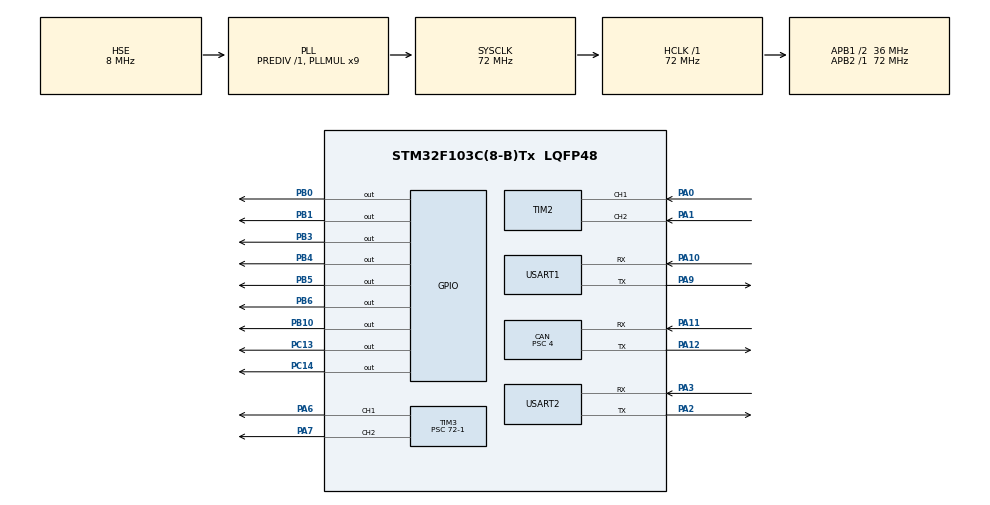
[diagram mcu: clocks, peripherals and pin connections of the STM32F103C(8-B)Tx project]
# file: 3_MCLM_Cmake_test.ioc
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CAN.ABOM=ENABLE
CAN.BS1=CAN_BS1_13TQ
CAN.BS2=CAN_BS2_4TQ
CAN.CalculateBaudRate=500000
CAN.CalculateTimeBit=2000
CAN.CalculateTimeQuantum=111.11111111111111
CAN.NART=ENABLE
CAN.Prescaler=4
CAN.SJW=CAN_SJW_1TQ
CAN.TXFP=ENABLE
Dma.Request0=USART1_RX
Dma.Request1=USART1_TX
Dma.Request2=USART2_RX
Dma.Request3=USART2_TX
Dma.USART1_RX.0.Direction=DMA_PERIPH_TO_MEMORY
Dma.USART1_RX.0.Instance=DMA1_Channel5
Dma.USART1_RX.0.MemDataAlignment=DMA_MDATAALIGN_BYTE
Dma.USART1_RX.0.MemInc=DMA_MINC_ENABLE
Dma.USART1_RX.0.Mode=DMA_NORMAL
Dma.USART1_RX.0.PeriphDataAlignment=DMA_PDATAALIGN_BYTE
Dma.USART1_RX.0.PeriphInc=DMA_PINC_DISABLE
Dma.USART1_RX.0.Priority=DMA_PRIORITY_HIGH
Dma.USART1_TX.1.Direction=DMA_MEMORY_TO_PERIPH
Dma.USART1_TX.1.Instance=DMA1_Channel4
Dma.USART1_TX.1.MemDataAlignment=DMA_MDATAALIGN_BYTE
Dma.USART1_TX.1.MemInc=DMA_MINC_ENABLE
Dma.USART1_TX.1.Mode=DMA_NORMAL
Dma.USART1_TX.1.PeriphDataAlignment=DMA_PDATAALIGN_BYTE
Dma.USART1_TX.1.PeriphInc=DMA_PINC_DISABLE
Dma.USART1_TX.1.Priority=DMA_PRIORITY_HIGH
Dma.USART2_RX.2.Direction=DMA_PERIPH_TO_MEMORY
Dma.USART2_RX.2.Instance=DMA1_Channel6
Dma.USART2_RX.2.MemDataAlignment=DMA_MDATAALIGN_BYTE
Dma.USART2_RX.2.MemInc=DMA_MINC_ENABLE
Dma.USART2_RX.2.Mode=DMA_NORMAL
Dma.USART2_RX.2.PeriphDataAlignment=DMA_PDATAALIGN_BYTE
Dma.USART2_RX.2.PeriphInc=DMA_PINC_DISABLE
Dma.USART2_RX.2.Priority=DMA_PRIORITY_MEDIUM
Dma.USART2_TX.3.Direction=DMA_MEMORY_TO_PERIPH
Dma.USART2_TX.3.Instance=DMA1_Channel7
Dma.USART2_TX.3.MemDataAlignment=DMA_MDATAALIGN_BYTE
Dma.USART2_TX.3.MemInc=DMA_MINC_ENABLE
Dma.USART2_TX.3.Mode=DMA_NORMAL
Dma.USART2_TX.3.PeriphDataAlignment=DMA_PDATAALIGN_BYTE
Dma.USART2_TX.3.PeriphInc=DMA_PINC_DISABLE
Dma.USART2_TX.3.Priority=DMA_PRIORITY_MEDIUM
FREERTOS.BinarySemaphores01=uart_rx_semaphore,Static,uart_rx_semaphoreControlBlock,Available;can_rx_semaphore,Static,can_rx_semaphoreControlBlock,Available
FREERTOS.Mutexes01=motor_mutex,Dynamic,NULL,Available
FREERTOS.Queues01=CommandQueue,64,CommandMsg_t,0,Dynamic,NULL,NULL;MotorQueue,72,CommandMsg_t,0,Dynamic,NULL,NULL;AckQueue,64,AckMsg_t,0,Dynamic,NULL,NULL
FREERTOS.Tasks01=MotorControl_Ta,40,128,Start_MotorControl,Default,NULL,Static,MotorControl_TBuffer,MotorControl_TControlBlock;Encoder_Ta,40,128,Start_Encoder,Default,NULL,Static,Encoder_TaskBuffer,Encoder_TaskControlBlock;Logger_Ta,8,384,Start_Logger,Default,NULL,Static,Logger_TaBuffer,Logger_TaControlBlock;Command_Ta,16,128,Start_Command,Default,NULL,Static,Command_TaBuffer,Command_TaControlBlock;Heartbeat_Ta,8,128,Start_Heartbeat,Default,NULL,Static,Heartbeat_TaBuffer,Heartbeat_TaControlBlock;Ack_Ta,8,256,Start_Ack,Default,NULL,Static,Ack_TaBuffer,Ack_TaControlBlock
Mcu.Family=STM32F1
Mcu.Name=STM32F103C(8-B)Tx
Mcu.Package=LQFP48
NVIC.DMA1_Channel4_IRQn=true\:5\:0\:false\:false\:true\:true\:false\:true\:true
NVIC.DMA1_Channel5_IRQn=true\:5\:0\:false\:false\:true\:true\:false\:true\:true
NVIC.DMA1_Channel6_IRQn=true\:5\:0\:false\:false\:true\:true\:false\:true\:true
NVIC.DMA1_Channel7_IRQn=true\:5\:0\:false\:false\:true\:true\:false\:true\:true
NVIC.PriorityGroup=NVIC_PRIORITYGROUP_4
NVIC.TIM4_IRQn=true\:15\:0\:false\:false\:true\:false\:false\:true\:true
NVIC.TimeBase=TIM4_IRQn
NVIC.TimeBaseIP=TIM4
NVIC.USART1_IRQn=true\:5\:0\:false\:false\:true\:true\:false\:true\:true
NVIC.USART2_IRQn=true\:5\:0\:false\:false\:true\:true\:false\:true\:true
NVIC.USB_LP_CAN1_RX0_IRQn=true\:5\:0\:false\:false\:true\:true\:true\:true\:true
PA0-WKUP.Signal=S_TIM2_CH1_ETR
PA1.Signal=S_TIM2_CH2
PA10.Mode=Asynchronous
PA10.Signal=USART1_RX
PA11.Mode=CAN_Activate
PA11.Signal=CAN_RX
PA12.Mode=CAN_Activate
PA12.Signal=CAN_TX
PA13.Mode=Serial_Wire
PA13.Signal=SYS_JTMS-SWDIO
PA14.Mode=Serial_Wire
PA14.Signal=SYS_JTCK-SWCLK
PA2.Mode=Asynchronous
PA2.Signal=USART2_TX
PA3.Mode=Asynchronous
PA3.Signal=USART2_RX
PA6.Signal=S_TIM3_CH1
PA7.Signal=S_TIM3_CH2
PA9.Mode=Asynchronous
PA9.Signal=USART1_TX
PB0.PinState=GPIO_PIN_SET
PB0.Signal=GPIO_Output
PB1.PinState=GPIO_PIN_SET
PB1.Signal=GPIO_Output
PB10.PinState=GPIO_PIN_SET
PB10.Signal=GPIO_Output
PB3.PinState=GPIO_PIN_SET
PB3.Signal=GPIO_Output
PB4.PinState=GPIO_PIN_SET
PB4.Signal=GPIO_Output
PB5.PinState=GPIO_PIN_SET
PB5.Signal=GPIO_Output
PB6.PinState=GPIO_PIN_SET
PB6.Signal=GPIO_Output
PC13-TAMPER-RTC.PinState=GPIO_PIN_SET
PC13-TAMPER-RTC.Signal=GPIO_Output
PC14-OSC32_IN.PinState=GPIO_PIN_SET
PC14-OSC32_IN.Signal=GPIO_Output
PD0-OSC_IN.Mode=HSE-External-Oscillator
PD0-OSC_IN.Signal=RCC_OSC_IN
PD1-OSC_OUT.Mode=HSE-External-Oscillator
PD1-OSC_OUT.Signal=RCC_OSC_OUT
ProjectManager.HeapSize=0x200
ProjectManager.StackSize=0x800
ProjectManager.TargetToolchain=CMake
RCC.AHBFreq_Value=72000000
RCC.APB1CLKDivider=RCC_HCLK_DIV2
RCC.APB1Freq_Value=36000000
RCC.APB1TimFreq_Value=72000000
RCC.APB2Freq_Value=72000000
RCC.APB2TimFreq_Value=72000000
RCC.EnbaleCSS=true
RCC.HCLKFreq_Value=72000000
RCC.PLLMUL=RCC_PLL_MUL9
RCC.PLLSourceVirtual=RCC_PLLSOURCE_HSE
RCC.SYSCLKFreq_VALUE=72000000
RCC.SYSCLKSource=RCC_SYSCLKSOURCE_PLLCLK
RCC.USBFreq_Value=72000000
SH.S_TIM2_CH1_ETR.0=TIM2_CH1,Encoder_Interface
SH.S_TIM2_CH2.0=TIM2_CH2,Encoder_Interface
SH.S_TIM3_CH1.0=TIM3_CH1,PWM Generation1 CH1
SH.S_TIM3_CH2.0=TIM3_CH2,PWM Generation2 CH2
TIM2.EncoderMode=TIM_ENCODERMODE_TI12
TIM2.IC1Filter=7
TIM2.IC2Filter=7
TIM3.Channel-PWM\ Generation1\ CH1=TIM_CHANNEL_1
TIM3.Channel-PWM\ Generation2\ CH2=TIM_CHANNEL_2
TIM3.Period=100-1
TIM3.Prescaler=72-1
USART1.VirtualMode=VM_ASYNC
USART2.VirtualMode=VM_ASYNC
VP_FREERTOS_VS_CMSIS_V2.Mode=CMSIS_V2
VP_SYS_VS_tim4.Mode=TIM4
board=custom

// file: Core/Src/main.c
/* USER CODE BEGIN Header */
/**
  ******************************************************************************
  * @file           : main.c
  * @brief          : Main program body
  ******************************************************************************
  * @attention
  *
  * Copyright (c) 2025 STMicroelectronics.
  * All rights reserved.
  *
  * This software is licensed under terms that can be found in the LICENSE file
  * in the root directory of this software component.
  * If no LICENSE file comes with this software, it is provided AS-IS.
  *
  ******************************************************************************
  */
/* USER CODE END Header */
#include "main.h"
#include "cmsis_os.h"
#include "can.h"
#include "dma.h"
#include "tim.h"
#include "usart.h"
#include "gpio.h"

/* USER CODE BEGIN Includes */

#include "app_includes.h"
// #include "can_service.h" // 新增：包含 can_service.h
// #include "app_task.h"

/* USER CODE END Includes */

void SystemClock_Config(void);
void MX_FREERTOS_Init(void);

int main(void)
{

  /* MCU Configuration--------------------------------------------------------*/

  /* Reset of all peripherals, Initializes the Flash interface and the Systick. */
  HAL_Init();

  /* Configure the system clock */
  SystemClock_Config();

  /* Initialize all configured peripherals */
  MX_GPIO_Init();
  MX_DMA_Init();
  MX_TIM2_Init();
  MX_TIM3_Init();
  MX_USART1_UART_Init();
  MX_USART2_UART_Init();
  MX_CAN_Init();
  /* USER CODE BEGIN 2 */

  Motor_PID_Init();
  // CanService_Init(); // 新增：调用 CanService_Init

  /* USER CODE END 2 */

  /* Init scheduler */
  osKernelInitialize();  /* Call init function for freertos objects (in cmsis_os2.c) */
  MX_FREERTOS_Init();

  /* Start scheduler */
  osKernelStart();

  /* We should never get here as control is now taken by the scheduler */

  /* Infinite loop */
  while (1)
  {

  }
}

void SystemClock_Config(void)
{
  RCC_OscInitTypeDef RCC_OscInitStruct = {0};
  RCC_ClkInitTypeDef RCC_ClkInitStruct = {0};

  /** Initializes the RCC Oscillators according to the specified parameters
  * in the RCC_OscInitTypeDef structure.
  */
  RCC_OscInitStruct.OscillatorType = RCC_OSCILLATORTYPE_HSE;
  RCC_OscInitStruct.HSEState = RCC_HSE_ON;
  RCC_OscInitStruct.HSEPredivValue = RCC_HSE_PREDIV_DIV1;
  RCC_OscInitStruct.HSIState = RCC_HSI_ON;
  RCC_OscInitStruct.PLL.PLLState = RCC_PLL_ON;
  RCC_OscInitStruct.PLL.PLLSource = RCC_PLLSOURCE_HSE;
  RCC_OscInitStruct.PLL.PLLMUL = RCC_PLL_MUL9;
  if (HAL_RCC_OscConfig(&RCC_OscInitStruct) != HAL_OK)
  {
    Error_Handler();
  }

  /** Initializes the CPU, AHB and APB buses clocks
  */
  RCC_ClkInitStruct.ClockType = RCC_CLOCKTYPE_HCLK|RCC_CLOCKTYPE_SYSCLK
                              |RCC_CLOCKTYPE_PCLK1|RCC_CLOCKTYPE_PCLK2;
  RCC_ClkInitStruct.SYSCLKSource = RCC_SYSCLKSOURCE_PLLCLK;
  RCC_ClkInitStruct.AHBCLKDivider = RCC_SYSCLK_DIV1;
  RCC_ClkInitStruct.APB1CLKDivider = RCC_HCLK_DIV2;
  RCC_ClkInitStruct.APB2CLKDivider = RCC_HCLK_DIV1;

  if (HAL_RCC_ClockConfig(&RCC_ClkInitStruct, FLASH_LATENCY_2) != HAL_OK)
  {
    Error_Handler();
  }

  /** Enables the Clock Security System
  */
  HAL_RCC_EnableCSS();
}

void HAL_TIM_PeriodElapsedCallback(TIM_HandleTypeDef *htim)
{
  if (htim->Instance == TIM4)
  {
    HAL_IncTick();
  }
}

void Error_Handler(void)
{
  __disable_irq();
  while (1)
  {
  }
}

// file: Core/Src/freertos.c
/* USER CODE BEGIN Header */
/**
  ******************************************************************************
  * File Name          : freertos.c
  * Description        : Code for freertos applications
  ******************************************************************************
  * @attention
  *
  * Copyright (c) 2025 STMicroelectronics.
  * All rights reserved.
  *
  * This software is licensed under terms that can be found in the LICENSE file
  * in the root directory of this software component.
  * If no LICENSE file comes with this software, it is provided AS-IS.
  *
  ******************************************************************************
  */
/* USER CODE END Header */

#include "FreeRTOS.h"
#include "task.h"
#include "main.h"
#include "cmsis_os.h"

/* USER CODE BEGIN Includes */

#include "app_task.h"
#include "command.h"
#include "app_config.h"

/* USER CODE END Includes */

typedef StaticTask_t osStaticThreadDef_t;
typedef StaticSemaphore_t osStaticSemaphoreDef_t;

/* Definitions for MotorControl_Ta */
osThreadId_t MotorControl_TaHandle;
uint32_t MotorControl_TBuffer[ 128 ];
osStaticThreadDef_t MotorControl_TControlBlock;
const osThreadAttr_t MotorControl_Ta_attributes = {
  .name = "MotorControl_Ta",
  .cb_mem = &MotorControl_TControlBlock,
  .cb_size = sizeof(MotorControl_TControlBlock),
  .stack_mem = &MotorControl_TBuffer[0],
  .stack_size = sizeof(MotorControl_TBuffer),
  .priority = (osPriority_t) osPriorityHigh,
};
/* Definitions for Encoder_Ta */
osThreadId_t Encoder_TaHandle;
uint32_t Encoder_TaskBuffer[ 128 ];
osStaticThreadDef_t Encoder_TaskControlBlock;
const osThreadAttr_t Encoder_Ta_attributes = {
  .name = "Encoder_Ta",
  .cb_mem = &Encoder_TaskControlBlock,
  .cb_size = sizeof(Encoder_TaskControlBlock),
  .stack_mem = &Encoder_TaskBuffer[0],
  .stack_size = sizeof(Encoder_TaskBuffer),
  .priority = (osPriority_t) osPriorityHigh,
};
/* Definitions for Logger_Ta */
osThreadId_t Logger_TaHandle;
uint32_t Logger_TaBuffer[ 384 ];
osStaticThreadDef_t Logger_TaControlBlock;
const osThreadAttr_t Logger_Ta_attributes = {
  .name = "Logger_Ta",
  .cb_mem = &Logger_TaControlBlock,
  .cb_size = sizeof(Logger_TaControlBlock),
  .stack_mem = &Logger_TaBuffer[0],
  .stack_size = sizeof(Logger_TaBuffer),
  .priority = (osPriority_t) osPriorityLow,
};
/* Definitions for Command_Ta */
osThreadId_t Command_TaHandle;
uint32_t Command_TaBuffer[ 128 ];
osStaticThreadDef_t Command_TaControlBlock;
const osThreadAttr_t Command_Ta_attributes = {
  .name = "Command_Ta",
  .cb_mem = &Command_TaControlBlock,
  .cb_size = sizeof(Command_TaControlBlock),
  .stack_mem = &Command_TaBuffer[0],
  .stack_size = sizeof(Command_TaBuffer),
  .priority = (osPriority_t) osPriorityBelowNormal,
};
/* Definitions for Heartbeat_Ta */
osThreadId_t Heartbeat_TaHandle;
uint32_t Heartbeat_TaBuffer[ 128 ];
osStaticThreadDef_t Heartbeat_TaControlBlock;
const osThreadAttr_t Heartbeat_Ta_attributes = {
  .name = "Heartbeat_Ta",
  .cb_mem = &Heartbeat_TaControlBlock,
  .cb_size = sizeof(Heartbeat_TaControlBlock),
  .stack_mem = &Heartbeat_TaBuffer[0],
  .stack_size = sizeof(Heartbeat_TaBuffer),
  .priority = (osPriority_t) osPriorityLow,
};
/* Definitions for Ack_Ta */
osThreadId_t Ack_TaHandle;
uint32_t Ack_TaBuffer[ 256 ];
osStaticThreadDef_t Ack_TaControlBlock;
const osThreadAttr_t Ack_Ta_attributes = {
  .name = "Ack_Ta",
  .cb_mem = &Ack_TaControlBlock,
  .cb_size = sizeof(Ack_TaControlBlock),
  .stack_mem = &Ack_TaBuffer[0],
  .stack_size = sizeof(Ack_TaBuffer),
  .priority = (osPriority_t) osPriorityLow,
};
/* Definitions for CommandQueue */
osMessageQueueId_t CommandQueueHandle;
const osMessageQueueAttr_t CommandQueue_attributes = {
  .name = "CommandQueue"
};
/* Definitions for MotorQueue */
osMessageQueueId_t MotorQueueHandle;
const osMessageQueueAttr_t MotorQueue_attributes = {
  .name = "MotorQueue"
};
/* Definitions for AckQueue */
osMessageQueueId_t AckQueueHandle;
const osMessageQueueAttr_t AckQueue_attributes = {
  .name = "AckQueue"
};
/* Definitions for motor_mutex */
osMutexId_t motor_mutexHandle;
const osMutexAttr_t motor_mutex_attributes = {
  .name = "motor_mutex"
};
/* Definitions for uart_rx_semaphore */
osSemaphoreId_t uart_rx_semaphoreHandle;
osStaticSemaphoreDef_t uart_rx_semaphoreControlBlock;
const osSemaphoreAttr_t uart_rx_semaphore_attributes = {
  .name = "uart_rx_semaphore",
  .cb_mem = &uart_rx_semaphoreControlBlock,
  .cb_size = sizeof(uart_rx_semaphoreControlBlock),
};
/* Definitions for can_rx_semaphore */
osSemaphoreId_t can_rx_semaphoreHandle;
osStaticSemaphoreDef_t can_rx_semaphoreControlBlock;
const osSemaphoreAttr_t can_rx_semaphore_attributes = {
  .name = "can_rx_semaphore",
  .cb_mem = &can_rx_semaphoreControlBlock,
  .cb_size = sizeof(can_rx_semaphoreControlBlock),
};

void Start_MotorControl(void *argument);
void Start_Encoder(void *argument);
void Start_Logger(void *argument);
void Start_Command(void *argument);
void Start_Heartbeat(void *argument);
void Start_Ack(void *argument);

void MX_FREERTOS_Init(void); /* (MISRA C 2004 rule 8.1) */

void MX_FREERTOS_Init(void) {
  /* Create the mutex(es) */
  /* creation of motor_mutex */
  motor_mutexHandle = osMutexNew(&motor_mutex_attributes);

  /* Create the semaphores(s) */
  /* creation of uart_rx_semaphore */
  uart_rx_semaphoreHandle = osSemaphoreNew(1, 1, &uart_rx_semaphore_attributes);

  /* creation of can_rx_semaphore */
  can_rx_semaphoreHandle = osSemaphoreNew(1, 1, &can_rx_semaphore_attributes);

  /* Create the queue(s) */
  /* creation of CommandQueue */
  CommandQueueHandle = osMessageQueueNew (64, sizeof(CommandMsg_t), &CommandQueue_attributes);

  /* creation of MotorQueue */
  MotorQueueHandle = osMessageQueueNew (72, sizeof(CommandMsg_t), &MotorQueue_attributes);

  /* creation of AckQueue */
  AckQueueHandle = osMessageQueueNew (64, sizeof(AckMsg_t), &AckQueue_attributes);

  /* Create the thread(s) */
  /* creation of MotorControl_Ta */
  MotorControl_TaHandle = osThreadNew(Start_MotorControl, NULL, &MotorControl_Ta_attributes);

  /* creation of Encoder_Ta */
  Encoder_TaHandle = osThreadNew(Start_Encoder, NULL, &Encoder_Ta_attributes);

  /* creation of Logger_Ta */
  Logger_TaHandle = osThreadNew(Start_Logger, NULL, &Logger_Ta_attributes);

  /* creation of Command_Ta */
  Command_TaHandle = osThreadNew(Start_Command, NULL, &Command_Ta_attributes);

  /* creation of Heartbeat_Ta */
  Heartbeat_TaHandle = osThreadNew(Start_Heartbeat, NULL, &Heartbeat_Ta_attributes);

  /* creation of Ack_Ta */
  Ack_TaHandle = osThreadNew(Start_Ack, NULL, &Ack_Ta_attributes);

}

void Start_MotorControl(void *argument)
{
  /* USER CODE BEGIN Start_MotorControl */
  /* Infinite loop */

  #if ACTIVE_MOTOR_DRIVER == MOTOR_DRIVER_TB6612
  TB6612_DC_Task(argument);
  #elif ACTIVE_MOTOR_DRIVER == MOTOR_DRIVER_AT8236
  AT8236_DC_Task(argument);

  #else

  #error "No valid motor driver selected! Please check ACTIVE_MOTOR_DRIVER in app_config.h"

  #endif

  // for(;;)
  // {
  //   osDelay(1);
  // }
  /* USER CODE END Start_MotorControl */
}

void Start_Encoder(void *argument)
{
  /* USER CODE BEGIN Start_Encoder */
  /* Infinite loop */

  Encoder_Task(argument);

  // for(;;)
  // {
  //   osDelay(1);
  // }
  /* USER CODE END Start_Encoder */
}

void Start_Logger(void *argument)
{
  /* USER CODE BEGIN Start_Logger */
  /* Infinite loop */

  Logger_Task(argument);

  // for(;;)
  // {
  //   osDelay(1);
  // }
  /* USER CODE END Start_Logger */
}

void Start_Command(void *argument)
{
  /* USER CODE BEGIN Start_Command */
  /* Infinite loop */

  Command_Task(argument);

  // for(;;)
  // {
  //   osDelay(1);
  // }
  /* USER CODE END Start_Command */
}

void Start_Heartbeat(void *argument)
{
  /* USER CODE BEGIN Start_Heartbeat */
  /* Infinite loop */

  Heartbeat_Task(argument);

  // for(;;)
  // {
  //   osDelay(1);
  // }
  /* USER CODE END Start_Heartbeat */
}

void Start_Ack(void *argument)
{
  /* USER CODE BEGIN Start_Ack */
  /* Infinite loop */

  Ack_Task(argument);

  // for(;;)
  // {
  //   osDelay(1);
  // }
  /* USER CODE END Start_Ack */
}
